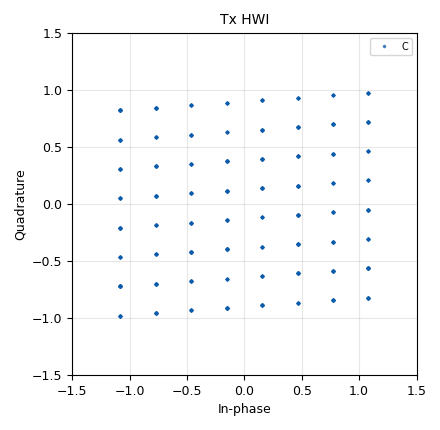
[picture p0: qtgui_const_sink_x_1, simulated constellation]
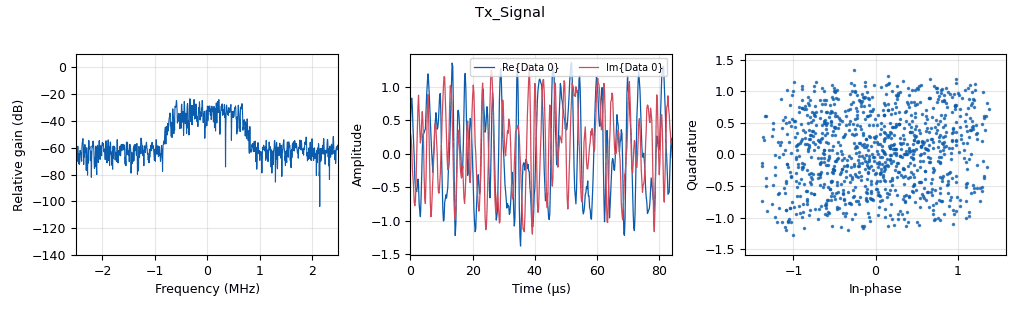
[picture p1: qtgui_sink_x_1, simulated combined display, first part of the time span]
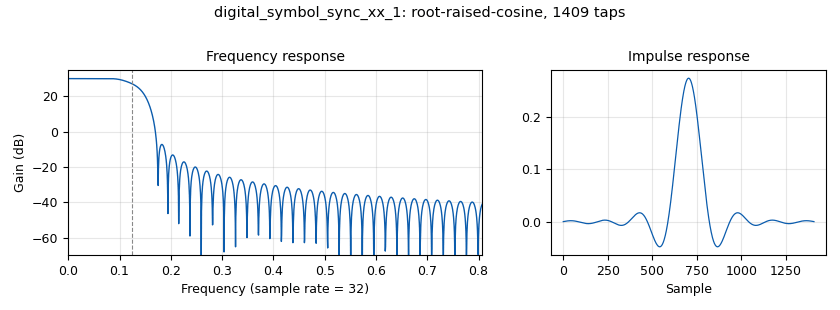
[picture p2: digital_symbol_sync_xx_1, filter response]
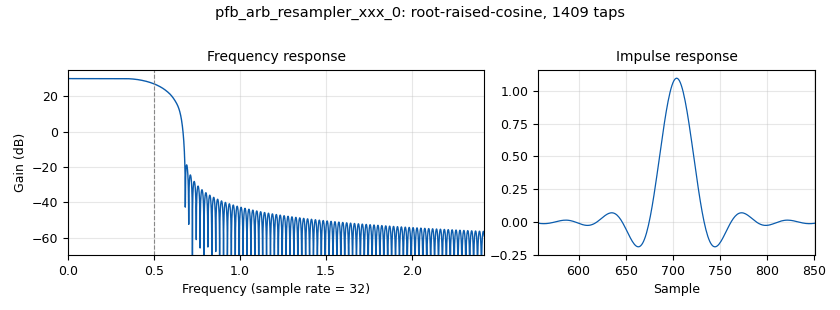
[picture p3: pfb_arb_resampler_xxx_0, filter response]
options:
  parameters:
    generate_options: qt_gui
    id: qam64_hardware
    output_language: python
    title: qam64_hardware
  states: {}

blocks:
- name: arity
  id: variable
  parameters:
    value: '4'
  states: {}
- name: const
  id: variable_constellation
  parameters:
    const_points: pconst
    dims: '1'
    normalization: digital.constellation.NO_NORMALIZATION
    precision: '8'
    rot_sym: '1'
    sym_map: '[i for i in range(64)]'
    type: calcdist
  states: {}
- name: const_base
  id: variable
  parameters:
    value: digital.qam_constellation(64,True,digital.mod_codes.GRAY_CODE,False)
  states: {}
- name: const_iq
  id: variable_constellation
  parameters:
    const_points: pconst_iq
    dims: '1'
    normalization: digital.constellation.NO_NORMALIZATION
    precision: '8'
    rot_sym: '1'
    sym_map: '[i for i in range(64)]'
    type: calcdist
  states: {}
- name: d
  id: variable
  parameters:
    value: 1/np.sqrt(2)
  states: {}
- name: excess_bw
  id: variable
  parameters:
    value: '0.35'
  states: {}
- name: freq
  id: variable
  parameters:
    value: 900e6
  states: {}
- name: gain_rx
  id: variable
  parameters:
    value: '0'
  states: {}
- name: gain_tx
  id: variable
  parameters:
    value: '0'
  states: {}
- name: h1
  id: variable
  parameters:
    value: 0.9159 + 0.0364j
  states: {}
- name: h2
  id: variable
  parameters:
    value: 0.0841 + 0.0364j
  states: {}
- name: mod_avg
  id: variable
  parameters:
    value: np.sum(np.abs(pconst))/len(pconst)
  states: {}
- name: mod_avg_iq
  id: variable
  parameters:
    value: np.sum(np.abs(pconst_iq))/len(pconst_iq)
  states: {}
- name: nfilts
  id: variable
  parameters:
    value: '32'
  states: {}
- name: p
  id: variable
  parameters:
    value: const_base.points()
  states: {}
- name: pavg
  id: variable
  parameters:
    value: np.sum(np.abs(p)**2)/len(p)
  states: {}
- name: pavg_iq
  id: variable
  parameters:
    value: np.sum(np.abs(pconst_iq)**2)/len(pconst_iq)
  states: {}
- name: pconst
  id: variable
  parameters:
    value: p/np.sqrt(pavg)
  states: {}
- name: pconst_iq
  id: variable
  parameters:
    value: h1*pconst + h2*np.conj(pconst)
  states: {}
- name: phase_bw
  id: variable_qtgui_range
  parameters:
    gui_hint: 'controls@1: 1,1,1,1'
    label: 'Phase: Bandwidth'
    start: '0.0'
    step: '0.01'
    stop: '0.1'
    value: 31e-3/10
  states: {}
- name: pnorm
  id: variable
  parameters:
    value: '1'
  states: {}
- name: rrc_taps
  id: variable
  parameters:
    value: firdes.root_raised_cosine(nfilts, nfilts, 1.0/float(sps), excess_bw, 11*sps*nfilts)
  states: {}
- name: rrc_taps_tx
  id: variable
  parameters:
    value: firdes.root_raised_cosine(nfilts, nfilts, 1.0, excess_bw, 11*sps*nfilts)
  states: {}
- name: samp_rate
  id: variable
  parameters:
    value: 5e6
  states: {}
- name: sigma
  id: variable
  parameters:
    value: np.sqrt(sigma2)
  states: {}
- name: sigma2
  id: variable
  parameters:
    value: pnorm/(10**(snr/10))
  states: {}
- name: snr
  id: variable_qtgui_range
  parameters:
    gui_hint: 'controls@0: 2,1,1,1'
    label: SNR
    start: '0'
    step: '0.5'
    stop: '200'
    value: '30'
  states: {}
- name: sps
  id: variable
  parameters:
    value: '4'
  states: {}
- name: timing_loop_bw
  id: variable_qtgui_range
  parameters:
    gui_hint: 'controls@1: 0,1,1,1'
    label: timing_loop_bw
    start: '0.0'
    step: '0.001'
    stop: '0.1'
    value: 6.28/200
  states: {}
- name: analog_agc_xx_0_0
  id: analog_agc_xx
  parameters:
    gain: '1.0'
    max_gain: '65536'
    rate: '1e-4'
    reference: mod_avg_iq*0.985
    type: complex
  states: {}
- name: analog_noise_source_x_0
  id: analog_noise_source_x
  parameters:
    amp: sigma*np.sqrt(sps)
    noise_type: analog.GR_GAUSSIAN
    seed: '0'
    type: complex
  states: {}
- name: analog_random_source_x_0
  id: analog_random_source_x
  parameters:
    max: '256'
    min: '0'
    num_samps: '10000000'
    repeat: 'True'
    type: byte
  states: {}
- name: blocks_add_xx_0
  id: blocks_add_xx
  parameters:
    type: complex
  states: {}
- name: blocks_add_xx_0_0
  id: blocks_add_xx
  parameters:
    type: complex
  states: {}
- name: blocks_add_xx_0_1
  id: blocks_add_xx
  parameters:
    type: complex
  states: {}
- name: blocks_complex_to_mag_0
  id: blocks_complex_to_mag
  parameters: {}
  states: {state: disabled}
- name: blocks_complex_to_mag_squared_0
  id: blocks_complex_to_mag_squared
  parameters: {}
  states: {}
- name: blocks_conjugate_cc_0
  id: blocks_conjugate_cc
  parameters: {}
  states: {}
- name: blocks_conjugate_cc_0_0
  id: blocks_conjugate_cc
  parameters: {}
  states: {}
- name: blocks_file_sink_2
  id: blocks_file_sink
  parameters:
    file: /home/alvaropr/Documentos/Doctorado/Demostrador/Paso2/rx_bytes
    type: byte
  states: {state: disabled}
- name: blocks_message_debug_0
  id: blocks_message_debug
  parameters: {}
  states: {state: disabled}
- name: blocks_moving_average_xx_0
  id: blocks_moving_average_xx
  parameters:
    length: '100000'
    max_iter: '4000'
    scale: '0.00001'
    type: float
  states: {}
- name: blocks_multiply_const_vxx_0
  id: blocks_multiply_const_vxx
  parameters:
    const: '0.1'
    type: complex
  states: {}
- name: blocks_multiply_const_vxx_2
  id: blocks_multiply_const_vxx
  parameters:
    const: h1
    type: complex
  states: {}
- name: blocks_multiply_const_vxx_2_0
  id: blocks_multiply_const_vxx
  parameters:
    const: h2
    type: complex
  states: {}
- name: blocks_multiply_const_vxx_2_0_0
  id: blocks_multiply_const_vxx
  parameters:
    const: h2
    type: complex
  states: {}
- name: blocks_multiply_const_vxx_2_1
  id: blocks_multiply_const_vxx
  parameters:
    const: h1
    type: complex
  states: {}
- name: blocks_null_sink_0
  id: blocks_null_sink
  parameters:
    type: byte
  states: {}
- name: blocks_null_sink_0_0
  id: blocks_null_sink
  parameters:
    type: float
  states: {}
- name: blocks_null_sink_0_0_0
  id: blocks_null_sink
  parameters:
    type: float
  states: {}
- name: blocks_null_sink_0_0_1
  id: blocks_null_sink
  parameters:
    type: float
  states: {}
- name: blocks_packed_to_unpacked_xx_0
  id: blocks_packed_to_unpacked_xx
  parameters:
    bits_per_chunk: const.bits_per_symbol()
    endianness: gr.GR_MSB_FIRST
    type: byte
  states: {}
- name: blocks_repack_bits_bb_0_1
  id: blocks_repack_bits_bb
  parameters:
    endianness: gr.GR_MSB_FIRST
    k: '2'
    l: '8'
    len_tag_key: '"nb"'
  states: {state: disabled}
- name: blocks_repack_bits_bb_0_1_0
  id: blocks_repack_bits_bb
  parameters:
    endianness: gr.GR_MSB_FIRST
    k: '1'
    l: '8'
    len_tag_key: payload_len
  states: {}
- name: blocks_stream_mux_0
  id: blocks_stream_mux
  parameters:
    lengths: '[8,104]'
    type: byte
  states: {}
- name: blocks_stream_to_tagged_stream_0
  id: blocks_stream_to_tagged_stream
  parameters:
    len_tag_key: '"packet_len"'
    packet_len: '100'
    type: byte
  states: {}
- name: blocks_sub_xx_0
  id: blocks_sub_xx
  parameters:
    type: complex
  states: {state: disabled}
- name: blocks_tagged_stream_to_pdu_0
  id: blocks_tagged_stream_to_pdu
  parameters:
    tag: '"sequence_end"'
    type: byte
  states: {state: disabled}
- name: blocks_tagged_stream_to_pdu_0_0
  id: blocks_tagged_stream_to_pdu
  parameters:
    tag: payload_len
    type: byte
  states: {}
- name: blocks_unpack_k_bits_bb_0
  id: blocks_unpack_k_bits_bb
  parameters:
    k: const.bits_per_symbol()
  states: {}
- name: blocks_unpacked_to_packed_xx_0
  id: blocks_unpacked_to_packed_xx
  parameters:
    bits_per_chunk: '2'
    endianness: gr.GR_MSB_FIRST
    type: byte
  states: {state: disabled}
- name: blocks_vector_source_x_0
  id: blocks_vector_source_x
  parameters:
    repeat: 'True'
    type: byte
    vector: '[8,0,56,34]'
  states: {state: disabled}
- name: blocks_vector_source_x_1
  id: blocks_vector_source_x
  parameters:
    repeat: 'True'
    type: byte
    vector: '[225,90,232,147,0,104,0,104]'
  states: {}
- name: controls
  id: qtgui_tab_widget
  parameters:
    gui_hint: 0,0,1,2
    label0: TX
    label1: RX
    num_tabs: '2'
  states: {}
- name: demonstrator_crc32_check_0
  id: demonstrator_crc32_check
  parameters:
    n_packets: '10000'
    n_sym: '136'
    n_user: '1'
  states: {}
- name: demonstrator_dispersion_meas_0
  id: demonstrator_dispersion_meas
  parameters:
    constellation: const_iq
    length: int(samp_rate)
    length_init: int(samp_rate)
  states: {}
- name: demonstrator_header_detector_bb_0
  id: demonstrator_header_detector_bb
  parameters:
    n_payload_bytes: '800'
  states: {state: disabled}
- name: digital_chunks_to_symbols_xx_0
  id: digital_chunks_to_symbols_xx
  parameters:
    dimension: '1'
    in_type: byte
    out_type: complex
    symbol_table: const.points()
  states: {}
- name: digital_constellation_decoder_cb_0
  id: digital_constellation_decoder_cb
  parameters:
    constellation: const_qpsk
  states: {state: disabled}
- name: digital_constellation_decoder_cb_0_0
  id: digital_constellation_decoder_cb
  parameters:
    constellation: const_iq
  states: {}
- name: digital_constellation_receiver_cb_0
  id: digital_constellation_receiver_cb
  parameters:
    constellation: const_iq
    fmax: '0.5'
    fmin: '-0.5'
    loop_bw: phase_bw
    showports: 'True'
  states: {}
- name: digital_correlate_access_code_tag_xx_0
  id: digital_correlate_access_code_tag_xx
  parameters:
    access_code: '11100001010110101110100010010011'
    threshold: '0'
    type: byte
  states: {state: disabled}
- name: digital_correlate_access_code_xx_ts_0
  id: digital_correlate_access_code_xx_ts
  parameters:
    access_code: '11100001010110101110100010010011'
    tagname: payload_len
    threshold: '0'
    type: byte
  states: {}
- name: digital_crc32_async_bb_0
  id: digital_crc32_async_bb
  parameters:
    check: 'True'
  states: {state: disabled}
- name: digital_crc32_async_bb_0_0
  id: digital_crc32_async_bb
  parameters:
    check: 'True'
  states: {state: disabled}
- name: digital_crc32_bb_0
  id: digital_crc32_bb
  parameters:
    check: 'False'
    lengthtagname: '"packet_len"'
    packed: 'True'
  states: {}
- name: digital_crc32_bb_1
  id: digital_crc32_bb
  parameters:
    check: 'True'
    lengthtagname: '"packet_len"'
    packed: 'True'
  states: {state: disabled}
- name: digital_diff_decoder_bb_0_0_0_0
  id: digital_diff_decoder_bb
  parameters:
    modulus: '64'
  states: {}
- name: digital_diff_encoder_bb_0
  id: digital_diff_encoder_bb
  parameters:
    modulus: '64'
  states: {}
- name: digital_symbol_sync_xx_1
  id: digital_symbol_sync_xx
  parameters:
    constellation: const.base()
    damping: '1.0'
    loop_bw: timing_loop_bw
    max_dev: '1.5'
    nfilters: nfilts
    osps: '1'
    pfb_mf_taps: rrc_taps
    resamp_type: digital.IR_PFB_MF
    sps: sps
    ted_gain: '1.0'
    ted_type: digital.TED_SIGNAL_TIMES_SLOPE_ML
    type: cc
  states: {}
- name: import_0
  id: import
  parameters:
    imports: import numpy as np
  states: {}
- name: note_0
  id: note
  parameters:
    note: This branch is just for plotting the IQI Tx Signal
  states: {}
- name: note_0_0
  id: note
  parameters:
    note: SNR calculation, note that is performed with a normalized pnorm = 2
  states: {}
- name: note_0_0_0
  id: note
  parameters:
    note: Note that points of the const_base provided by GNU Radio are normalized so p = 1
  states: {}
- name: note_1
  id: note
  parameters:
    note: It seems that AGC is more stable with reference = 1, so the extra amplitude correction is performed downstream
  states: {}
- name: pfb_arb_resampler_xxx_0
  id: pfb_arb_resampler_xxx
  parameters:
    atten: '100'
    nfilts: nfilts
    rrate: sps
    taps: rrc_taps_tx
    type: ccf
  states: {}
- name: qtgui_const_sink_x_0
  id: qtgui_const_sink_x
  parameters:
    grid: 'True'
    gui_hint: 2,0,1,1
    label1: Con
    name: '"Rx"'
    size: 256*4
    type: complex
    xmax: '1.5'
    xmin: '-1.5'
    ymax: '1.5'
    ymin: '-1.5'
  states: {}
- name: qtgui_const_sink_x_1
  id: qtgui_const_sink_x
  parameters:
    grid: 'True'
    gui_hint: 2,1,1,1
    label1: '"C"'
    name: Tx HWI
    size: '1024'
    type: complex
    xmax: '1.5'
    xmin: '-1.5'
    ymax: '1.5'
    ymin: '-1.5'
  states: {}
- name: qtgui_number_sink_0
  id: qtgui_number_sink
  parameters:
    graph_type: qtgui.NUM_GRAPH_HORIZ
    type: float
  states: {}
- name: qtgui_sink_x_1
  id: qtgui_sink_x
  parameters:
    bw: samp_rate
    fc: '0'
    fftsize: '1024'
    gui_hint: 1,0,1,1
    name: '"Tx_Signal"'
    showports: 'True'
    type: complex
  states: {}
- name: qtgui_sink_x_1_0
  id: qtgui_sink_x
  parameters:
    bw: samp_rate
    fc: '0'
    fftsize: '1024'
    gui_hint: 1,1,1,1
    name: '"Rx_Signal"'
    showports: 'True'
    type: complex
  states: {}
- name: uhd_usrp_sink_0_0
  id: uhd_usrp_sink
  parameters:
    ant0: '"TX/RX"'
    center_freq0: freq
    clock_rate: '0.0'
    dev_addr: '"addr0=192.168.1.150"'
    dev_args: '""'
    gain0: gain_tx
    len_tag_name: ''
    samp_rate: samp_rate
    sync: none
    type: fc32
  states: {}
- name: uhd_usrp_source_0_0
  id: uhd_usrp_source
  parameters:
    ant0: '"TX/RX"'
    center_freq0: freq
    clock_rate: '0.0'
    dc_offs_enb0: auto
    dev_addr: '"addr0=192.168.1.151"'
    dev_args: '""'
    gain0: gain_rx
    iq_imbal_enb0: disabled
    rx_agc0: Disabled
    samp_rate: samp_rate
    sync: none
    type: fc32
  states: {}
- name: virtual_sink_0_0
  id: virtual_sink
  parameters:
    stream_id: Bytes
  states: {}
- name: virtual_sink_1
  id: virtual_sink
  parameters:
    stream_id: Rx_symbols
  states: {}
- name: virtual_source_1
  id: virtual_source
  parameters:
    stream_id: Rx_symbols
  states: {}
- name: virtual_source_2
  id: virtual_source
  parameters:
    stream_id: Bytes
  states: {}

connections:
- [analog_agc_xx_0_0, '0', digital_symbol_sync_xx_1, '0']
- [analog_noise_source_x_0, '0', blocks_add_xx_0_1, '1']
- [analog_random_source_x_0, '0', blocks_stream_to_tagged_stream_0, '0']
- [blocks_add_xx_0, '0', blocks_add_xx_0_1, '0']
- [blocks_add_xx_0_0, '0', qtgui_const_sink_x_1, '0']
- [blocks_add_xx_0_1, '0', blocks_multiply_const_vxx_0, '0']
- [blocks_add_xx_0_1, '0', qtgui_sink_x_1, '0']
- [blocks_complex_to_mag_squared_0, '0', blocks_moving_average_xx_0, '0']
- [blocks_conjugate_cc_0, '0', blocks_multiply_const_vxx_2_0, '0']
- [blocks_conjugate_cc_0_0, '0', blocks_multiply_const_vxx_2_0_0, '0']
- [blocks_moving_average_xx_0, '0', qtgui_number_sink_0, '0']
- [blocks_multiply_const_vxx_0, '0', uhd_usrp_sink_0_0, '0']
- [blocks_multiply_const_vxx_2, '0', blocks_add_xx_0, '0']
- [blocks_multiply_const_vxx_2_0, '0', blocks_add_xx_0, '1']
- [blocks_multiply_const_vxx_2_0_0, '0', blocks_add_xx_0_0, '1']
- [blocks_multiply_const_vxx_2_1, '0', blocks_add_xx_0_0, '0']
- [blocks_packed_to_unpacked_xx_0, '0', digital_diff_encoder_bb_0, '0']
- [blocks_repack_bits_bb_0_1_0, '0', blocks_tagged_stream_to_pdu_0_0, '0']
- [blocks_stream_mux_0, '0', virtual_sink_0_0, '0']
- [blocks_stream_to_tagged_stream_0, '0', digital_crc32_bb_0, '0']
- [blocks_tagged_stream_to_pdu_0, pdus, digital_crc32_async_bb_0_0, in]
- [blocks_tagged_stream_to_pdu_0_0, pdus, demonstrator_crc32_check_0, in]
- [blocks_unpack_k_bits_bb_0, '0', digital_correlate_access_code_xx_ts_0, '0']
- [blocks_vector_source_x_1, '0', blocks_stream_mux_0, '0']
- [demonstrator_header_detector_bb_0, '0', blocks_repack_bits_bb_0_1, '0']
- [digital_chunks_to_symbols_xx_0, '0', blocks_conjugate_cc_0_0, '0']
- [digital_chunks_to_symbols_xx_0, '0', blocks_multiply_const_vxx_2_1, '0']
- [digital_chunks_to_symbols_xx_0, '0', pfb_arb_resampler_xxx_0, '0']
- [digital_constellation_decoder_cb_0_0, '0', digital_diff_decoder_bb_0_0_0_0, '0']
- [digital_constellation_receiver_cb_0, '0', blocks_null_sink_0, '0']
- [digital_constellation_receiver_cb_0, '1', blocks_null_sink_0_0, '0']
- [digital_constellation_receiver_cb_0, '2', blocks_null_sink_0_0_0, '0']
- [digital_constellation_receiver_cb_0, '3', blocks_null_sink_0_0_1, '0']
- [digital_constellation_receiver_cb_0, '4', blocks_complex_to_mag_squared_0, '0']
- [digital_constellation_receiver_cb_0, '4', qtgui_const_sink_x_0, '0']
- [digital_constellation_receiver_cb_0, '4', virtual_sink_1, '0']
- [digital_correlate_access_code_xx_ts_0, '0', blocks_repack_bits_bb_0_1_0, '0']
- [digital_crc32_async_bb_0_0, out, blocks_message_debug_0, print_pdu]
- [digital_crc32_bb_0, '0', blocks_stream_mux_0, '1']
- [digital_diff_decoder_bb_0_0_0_0, '0', blocks_unpack_k_bits_bb_0, '0']
- [digital_diff_encoder_bb_0, '0', digital_chunks_to_symbols_xx_0, '0']
- [digital_symbol_sync_xx_1, '0', digital_constellation_receiver_cb_0, '0']
- [pfb_arb_resampler_xxx_0, '0', blocks_conjugate_cc_0, '0']
- [pfb_arb_resampler_xxx_0, '0', blocks_multiply_const_vxx_2, '0']
- [uhd_usrp_source_0_0, '0', analog_agc_xx_0_0, '0']
- [uhd_usrp_source_0_0, '0', qtgui_sink_x_1_0, '0']
- [virtual_source_1, '0', demonstrator_dispersion_meas_0, '0']
- [virtual_source_1, '0', digital_constellation_decoder_cb_0_0, '0']
- [virtual_source_2, '0', blocks_packed_to_unpacked_xx_0, '0']

metadata:
  file_format: 1
